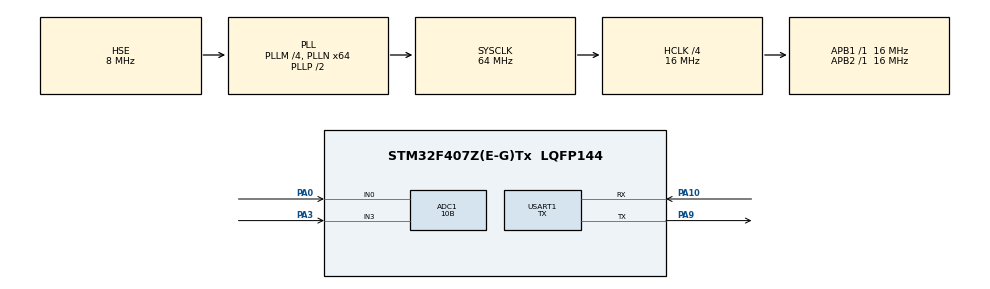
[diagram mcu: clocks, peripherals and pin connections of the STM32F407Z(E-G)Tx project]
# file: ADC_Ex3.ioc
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ADC1.Channel-0\#ChannelRegularConversion=ADC_CHANNEL_0
ADC1.Channel-1\#ChannelRegularConversion=ADC_CHANNEL_3
ADC1.ClockPrescaler=ADC_CLOCK_SYNC_PCLK_DIV8
ADC1.EOCSelection=ADC_EOC_SINGLE_CONV
ADC1.ExternalTrigConv=ADC_EXTERNALTRIGCONV_T8_TRGO
ADC1.NbrOfConversion=2
ADC1.NbrOfConversionFlag=1
ADC1.Rank-0\#ChannelRegularConversion=1
ADC1.Rank-1\#ChannelRegularConversion=2
ADC1.Resolution=ADC_RESOLUTION_10B
ADC1.SamplingTime-0\#ChannelRegularConversion=ADC_SAMPLETIME_56CYCLES
ADC1.SamplingTime-1\#ChannelRegularConversion=ADC_SAMPLETIME_56CYCLES
ADC1.ScanConvMode=ENABLE
ADC1.master=1
Mcu.Family=STM32F4
Mcu.Name=STM32F407Z(E-G)Tx
Mcu.Package=LQFP144
NVIC.ADC_IRQn=true\:0\:0\:false\:false\:true\:true\:true\:true
NVIC.PriorityGroup=NVIC_PRIORITYGROUP_4
PA0-WKUP.Signal=ADCx_IN0
PA10.Mode=Asynchronous
PA10.Signal=USART1_RX
PA13.Mode=Serial_Wire
PA13.Signal=SYS_JTMS-SWDIO
PA14.Mode=Serial_Wire
PA14.Signal=SYS_JTCK-SWCLK
PA3.Signal=ADCx_IN3
PA9.Mode=Asynchronous
PA9.Signal=USART1_TX
PH0-OSC_IN.Mode=HSE-External-Oscillator
PH0-OSC_IN.Signal=RCC_OSC_IN
PH1-OSC_OUT.Mode=HSE-External-Oscillator
PH1-OSC_OUT.Signal=RCC_OSC_OUT
ProjectManager.HeapSize=0x200
ProjectManager.StackSize=0x400
ProjectManager.TargetToolchain=EWARM V8.50
RCC.48MHZClocksFreq_Value=32000000
RCC.AHBCLKDivider=RCC_SYSCLK_DIV4
RCC.AHBFreq_Value=16000000
RCC.APB1Freq_Value=16000000
RCC.APB1TimFreq_Value=16000000
RCC.APB2Freq_Value=16000000
RCC.APB2TimFreq_Value=16000000
RCC.CortexFreq_Value=16000000
RCC.HCLKFreq_Value=16000000
RCC.HSE_VALUE=8000000
RCC.HSI_VALUE=16000000
RCC.LSE_VALUE=32768
RCC.PLLM=4
RCC.PLLN=64
RCC.PLLSourceVirtual=RCC_PLLSOURCE_HSE
RCC.SYSCLKFreq_VALUE=64000000
RCC.SYSCLKSource=RCC_SYSCLKSOURCE_PLLCLK
RCC.VCOOutputFreq_Value=128000000
SH.ADCx_IN0.0=ADC1_IN0,IN0
SH.ADCx_IN3.0=ADC1_IN3,IN3
TIM8.Period=999
TIM8.Prescaler=15999
TIM8.TIM_MasterOutputTrigger=TIM_TRGO_UPDATE
USART1.Mode=MODE_TX
USART1.VirtualMode=VM_ASYNC
VP_TIM8_VS_ClockSourceINT.Mode=Internal
board=custom

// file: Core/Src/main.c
/* USER CODE BEGIN Header */
/**
  ******************************************************************************
  * @file           : main.c
  * @brief          : Main program body
  ******************************************************************************
  * @attention
  *
  * Copyright (c) 2024 STMicroelectronics.
  * All rights reserved.
  *
  * This software is licensed under terms that can be found in the LICENSE file
  * in the root directory of this software component.
  * If no LICENSE file comes with this software, it is provided AS-IS.
  *
  ******************************************************************************
  */
/* USER CODE END Header */
#include "main.h"
#include "adc.h"
#include "tim.h"
#include "usart.h"
#include "gpio.h"

/* USER CODE BEGIN Includes */
#include "stdio.h"
#include "string.h"
/* USER CODE END Includes */

/* USER CODE BEGIN PTD */
ADC_RANK_e adc_rank;
/* USER CODE END PTD */

/* USER CODE BEGIN PV */
uint16_t adcRawValue[2] = {0, 0};
uint8_t adcEocFlag = 0;
/* USER CODE END PV */

void SystemClock_Config(void);

int main(void)
{

  /* USER CODE BEGIN 1 */
  adc_rank = RANK_1;
  char serialData[50];
  uint16_t voltage[2];
  /* USER CODE END 1 */

  /* MCU Configuration--------------------------------------------------------*/

  /* Reset of all peripherals, Initializes the Flash interface and the Systick. */
  HAL_Init();

  /* Configure the system clock */
  SystemClock_Config();

  /* Initialize all configured peripherals */
  MX_GPIO_Init();
  MX_ADC1_Init();
  MX_TIM8_Init();
  MX_USART1_UART_Init();
  /* USER CODE BEGIN 2 */
  HAL_ADC_Start_IT(&hadc1);
  HAL_TIM_Base_Start(&htim8);
  /* USER CODE END 2 */

  /* Infinite loop */
  /* USER CODE BEGIN WHILE */
  while (1)
  {
    if(adcEocFlag)
    {
      adcEocFlag = 0;
      voltage[0] = (adcRawValue[0]*3300)/1023;
      voltage[1] = (adcRawValue[1]*3300)/1023;
      sprintf(serialData, "voltage_ch0: %d mv \t voltage_ch3 = %d mv \r\n", voltage[0], voltage[1]);
      HAL_UART_Transmit(&huart1, (uint8_t *)serialData, strlen(serialData),10);
    };
    /* USER CODE END WHILE */

  }
}

void SystemClock_Config(void)
{
  RCC_OscInitTypeDef RCC_OscInitStruct = {0};
  RCC_ClkInitTypeDef RCC_ClkInitStruct = {0};

  /** Configure the main internal regulator output voltage
  */
  __HAL_RCC_PWR_CLK_ENABLE();
  __HAL_PWR_VOLTAGESCALING_CONFIG(PWR_REGULATOR_VOLTAGE_SCALE1);

  /** Initializes the RCC Oscillators according to the specified parameters
  * in the RCC_OscInitTypeDef structure.
  */
  RCC_OscInitStruct.OscillatorType = RCC_OSCILLATORTYPE_HSE;
  RCC_OscInitStruct.HSEState = RCC_HSE_ON;
  RCC_OscInitStruct.PLL.PLLState = RCC_PLL_ON;
  RCC_OscInitStruct.PLL.PLLSource = RCC_PLLSOURCE_HSE;
  RCC_OscInitStruct.PLL.PLLM = 4;
  RCC_OscInitStruct.PLL.PLLN = 64;
  RCC_OscInitStruct.PLL.PLLP = RCC_PLLP_DIV2;
  RCC_OscInitStruct.PLL.PLLQ = 4;
  if (HAL_RCC_OscConfig(&RCC_OscInitStruct) != HAL_OK)
  {
    Error_Handler();
  }

  /** Initializes the CPU, AHB and APB buses clocks
  */
  RCC_ClkInitStruct.ClockType = RCC_CLOCKTYPE_HCLK|RCC_CLOCKTYPE_SYSCLK
                              |RCC_CLOCKTYPE_PCLK1|RCC_CLOCKTYPE_PCLK2;
  RCC_ClkInitStruct.SYSCLKSource = RCC_SYSCLKSOURCE_PLLCLK;
  RCC_ClkInitStruct.AHBCLKDivider = RCC_SYSCLK_DIV4;
  RCC_ClkInitStruct.APB1CLKDivider = RCC_HCLK_DIV1;
  RCC_ClkInitStruct.APB2CLKDivider = RCC_HCLK_DIV1;

  if (HAL_RCC_ClockConfig(&RCC_ClkInitStruct, FLASH_LATENCY_0) != HAL_OK)
  {
    Error_Handler();
  }
}

void Error_Handler(void)
{
  __disable_irq();
  while (1)
  {
  }
}
